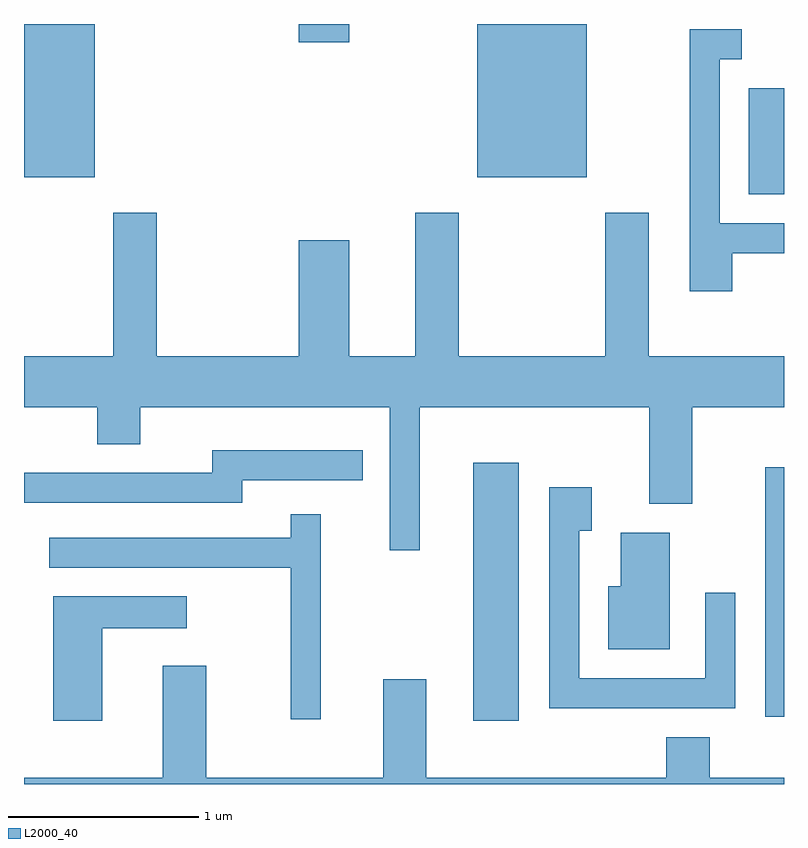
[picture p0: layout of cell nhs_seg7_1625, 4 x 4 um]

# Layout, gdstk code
import gdstk
lib = gdstk.Library(unit=1e-6, precision=1e-09)
def R(c, l, rs):  # rectangles x0, y0, x1, y1
    for r in rs: c.add(gdstk.rectangle(r[:2], r[2:], *l))
def P(c, l, *ps):  # polygons
    for p in ps: c.add(gdstk.Polygon(p, *l))
L2000_40 = (2000, 40)

nhs_seg7_1625 = lib.new_cell('nhs_seg7_1625')
R(nhs_seg7_1625, L2000_40, [(235.976,1792.586,236.214,1793.944), (237.511,1792.606,237.611,1793.919), (237.426,1795.356,237.611,1795.914), (233.611,1795.446,233.984,1796.252), (235.996,1795.446,236.574,1796.252), (235.056,1796.156,235.324,1796.252)])
P(nhs_seg7_1625, L2000_40, [(237.339,1795.046),(237.611,1795.046),(237.611,1795.204),(237.274,1795.204),(237.274,1796.066),(237.388,1796.066),(237.388,1796.224),(237.116,1796.224),(237.116,1794.846),(237.339,1794.846)],
  [(235.694,1794.236),(236.901,1794.236),(236.901,1793.726),(237.129,1793.726),(237.129,1794.236),(237.611,1794.236),(237.611,1794.504),(236.899,1794.504),(236.899,1795.259),(236.671,1795.259),(236.671,1794.504),(235.899,1794.504),(235.899,1795.259),(235.671,1795.259),(235.671,1794.504),(235.324,1794.504),(235.324,1795.114),(235.056,1795.114),(235.056,1794.504),(234.309,1794.504),(234.309,1795.259),(234.081,1795.259),(234.081,1794.504),(233.611,1794.504),(233.611,1794.236),(233.996,1794.236),(233.996,1794.041),(234.224,1794.041),(234.224,1794.236),(235.536,1794.236),(235.536,1793.483),(235.694,1793.483)],
  [(234.759,1793.851),(235.393,1793.851),(235.393,1794.009),(234.601,1794.009),(234.601,1793.889),(233.611,1793.889),(233.611,1793.731),(234.759,1793.731)],
  [(237.354,1793.258),(237.196,1793.258),(237.196,1792.809),(236.534,1792.809),(236.534,1793.586),(236.599,1793.586),(236.599,1793.814),(236.376,1793.814),(236.376,1792.651),(237.354,1792.651)],
  [(235.174,1793.673),(235.016,1793.673),(235.016,1793.549),(233.743,1793.549),(233.743,1793.391),(235.016,1793.391),(235.016,1792.593),(235.174,1792.593)],
  [(237.009,1793.574),(236.751,1793.574),(236.751,1793.294),(236.686,1793.294),(236.686,1792.961),(237.009,1792.961)],
  [(234.024,1793.071),(234.468,1793.071),(234.468,1793.239),(233.766,1793.239),(233.766,1792.586),(234.024,1792.586)],
  [(237.611,1792.284),(237.219,1792.284),(237.219,1792.499),(236.991,1792.499),(236.991,1792.284),(235.729,1792.284),(235.729,1792.804),(235.501,1792.804),(235.501,1792.284),(234.569,1792.284),(234.569,1792.874),(234.341,1792.874),(234.341,1792.284),(233.611,1792.284),(233.611,1792.252),(237.611,1792.252)])

lib.write_gds('nhs_seg7_1625.gds')
